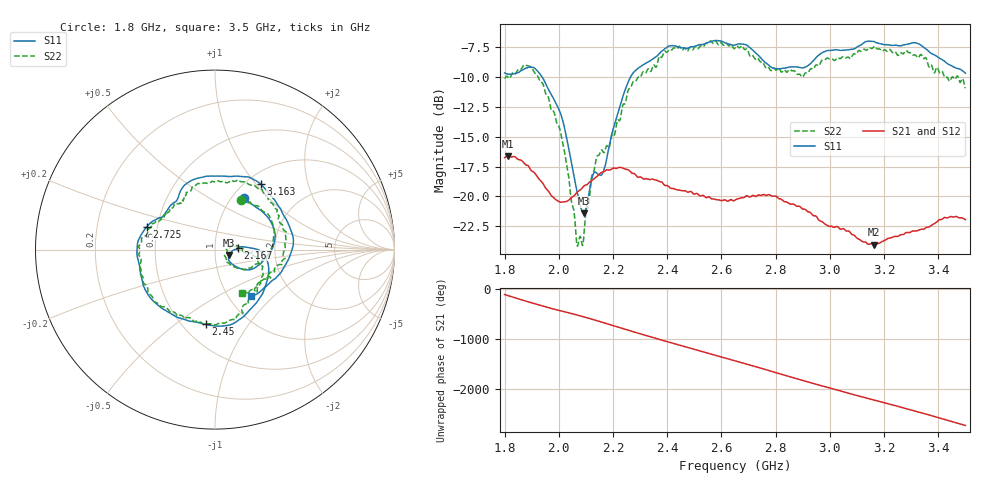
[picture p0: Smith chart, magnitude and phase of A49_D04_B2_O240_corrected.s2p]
! Created with skrf 1.9.0 (http://scikit-rf.org).
# Hz S RI R 50.0
!freq ReS11 ImS11 ReS21 ImS21 ReS12 ImS12 ReS22 ImS22
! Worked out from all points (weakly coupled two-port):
!   1601 points, 1.8 GHz to 3.5 GHz, reference 50 ohm
!   highest |S21| = -16.64 dB at 1.812 GHz (marker M1); lowest = -24.0 dB at 3.161 GHz (marker M2)
!   lowest |S11| = -21.4 dB at 2.092 GHz (marker M3), VSWR 1.19, Z = 58.5 - j3.57 ohm
!   |S11| at or under -10 dB: 1.939 GHz to 2.264 GHz (325.6 MHz wide, 15.5 % of centre)
!   |S22| runs from -24.2 to -7.0 dB; largest |S21 - S12| = 0.0024
!   S11 on the Smith chart (normalised r, x): 1.8 GHz: 1.14, +0.73; 2.167 GHz: 1.30, +0.03; 2.45 GHz: 0.64, -0.65; 2.725 GHz: 0.44, +0.13; 3.163 GHz: 1.17, +1.06; 3.5 GHz: 1.27, -0.74
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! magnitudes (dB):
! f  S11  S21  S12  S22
! 1.8 GHz  -9.6  -16.7  -16.7  -10.1
! 1.812 GHz  -9.7  -16.6  -16.6  -10.0
! 1.881 GHz  -9.2  -17.4  -17.4  -9.0
! 1.941 GHz  -10.1  -18.9  -18.9  -10.6
! 2.011 GHz  -13.4  -20.5  -20.5  -15.2
! 2.066 GHz  -19.4  -19.7  -19.7  -23.9
! 2.084 GHz  -21.1  -19.4  -19.3  -23.7
! 2.092 GHz  -21.4  -19.1  -19.2  -23.3
! 2.129 GHz  -18.0  -18.5  -18.5  -17.9
! 2.167 GHz  -17.8  -17.9  -17.9  -16.3
! 2.26 GHz  -10.2  -17.8  -17.8  -11.0
! 2.367 GHz  -8.1  -18.7  -18.7  -8.5
! 2.45 GHz  -7.5  -19.5  -19.5  -7.6
! 2.65 GHz  -7.3  -20.3  -20.3  -7.6
! 2.725 GHz  -8.0  -20.0  -20.0  -8.5
! 2.798 GHz  -9.3  -20.0  -19.9  -9.3
! 2.934 GHz  -8.8  -21.5  -21.4  -9.3
! 3.161 GHz  -7.0  -24.0  -24.0  -7.5
! 3.163 GHz  -7.0  -24.0  -24.0  -7.4
! 3.217 GHz  -7.3  -23.5  -23.5  -7.7
! 3.324 GHz  -7.2  -22.9  -22.8  -8.4
! 3.5 GHz  -9.7  -21.9  -21.9  -10.9
